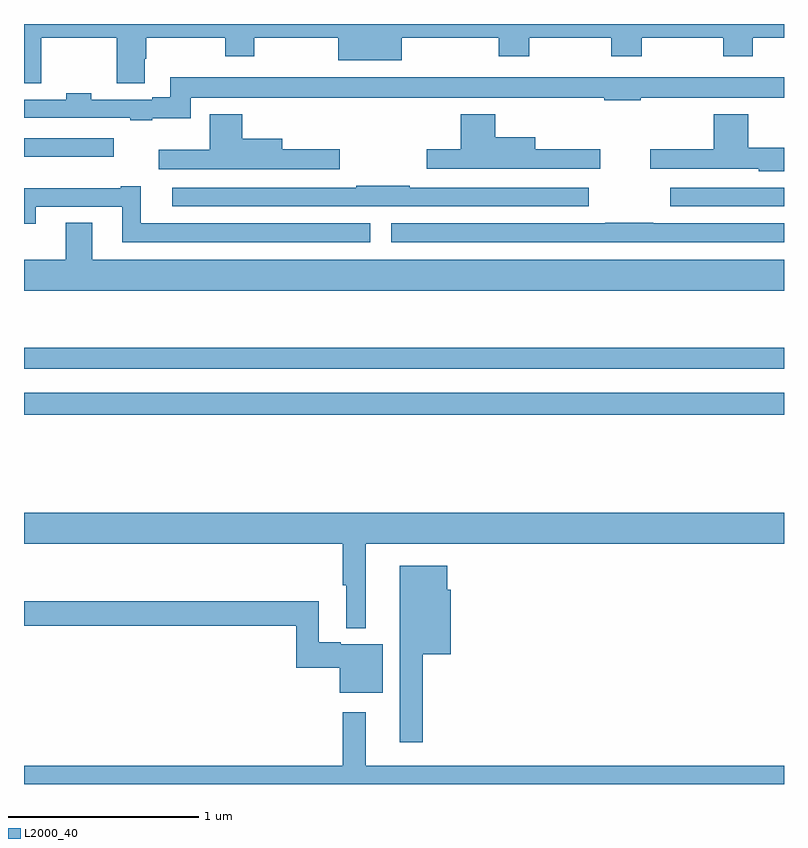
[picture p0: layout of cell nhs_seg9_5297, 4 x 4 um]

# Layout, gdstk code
import gdstk
lib = gdstk.Library(unit=1e-6, precision=1e-09)
def R(c, l, rs):  # rectangles x0, y0, x1, y1
    for r in rs: c.add(gdstk.rectangle(r[:2], r[2:], *l))
def P(c, l, *ps):  # polygons
    for p in ps: c.add(gdstk.Polygon(p, *l))
L2000_40 = (2000, 40)

nhs_seg9_5297 = lib.new_cell('nhs_seg9_5297')
R(nhs_seg9_5297, L2000_40, [(419,1186.444,423,1186.56), (419,1186.686,423,1186.795), (422.4,1187.541,423,1187.637), (419,1187.801,419.473,1187.898)])
P(nhs_seg9_5297, L2000_40, [(419.09,1188.428),(419.488,1188.428),(419.488,1188.187),(419.635,1188.187),(419.635,1188.316),(419.643,1188.316),(419.643,1188.428),(420.058,1188.428),(420.058,1188.329),(420.213,1188.329),(420.213,1188.428),(420.653,1188.428),(420.653,1188.308),(420.988,1188.308),(420.988,1188.428),(421.499,1188.428),(421.499,1188.329),(421.659,1188.329),(421.659,1188.428),(422.092,1188.428),(422.092,1188.329),(422.25,1188.329),(422.25,1188.428),(422.68,1188.428),(422.68,1188.329),(422.835,1188.329),(422.835,1188.428),(423,1188.428),(423,1188.5),(419,1188.5),(419,1188.187),(419.09,1188.187)],
  [(419.674,1188.005),(419.878,1188.005),(419.878,1188.113),(422.055,1188.113),(422.055,1188.098),(422.246,1188.098),(422.246,1188.113),(423,1188.113),(423,1188.22),(419.771,1188.22),(419.771,1188.115),(419.675,1188.115),(419.675,1188.102),(419.355,1188.102),(419.355,1188.135),(419.223,1188.135),(419.223,1188.102),(419,1188.102),(419,1188.006),(419.56,1188.006),(419.56,1187.994),(419.674,1187.994)],
  [(423,1187.848),(422.813,1187.848),(422.813,1188.025),(422.63,1188.025),(422.63,1187.84),(422.295,1187.84),(422.295,1187.739),(422.868,1187.739),(422.868,1187.726),(423,1187.726)],
  [(422.032,1187.842),(421.69,1187.842),(421.69,1187.905),(421.481,1187.905),(421.481,1188.025),(421.298,1188.025),(421.298,1187.842),(421.119,1187.842),(421.119,1187.738),(422.032,1187.738)],
  [(420.661,1187.842),(420.358,1187.842),(420.358,1187.896),(420.149,1187.896),(420.149,1188.025),(419.978,1188.025),(419.978,1187.839),(419.709,1187.839),(419.709,1187.735),(420.661,1187.735)],
  [(421.972,1187.637),(421.031,1187.637),(421.031,1187.65),(420.748,1187.65),(420.748,1187.637),(419.781,1187.637),(419.781,1187.541),(421.972,1187.541)],
  [(420.823,1187.452),(419.614,1187.452),(419.614,1187.647),(419.51,1187.647),(419.51,1187.635),(419,1187.635),(419,1187.448),(419.062,1187.448),(419.062,1187.538),(419.516,1187.538),(419.516,1187.351),(420.823,1187.351)],
  [(423,1187.452),(422.312,1187.452),(422.312,1187.455),(422.059,1187.455),(422.059,1187.452),(420.933,1187.452),(420.933,1187.351),(423,1187.351)],
  [(423,1187.26),(419.359,1187.26),(419.359,1187.453),(419.219,1187.453),(419.219,1187.26),(419,1187.26),(419,1187.096),(423,1187.096)],
  [(420.799,1185.764),(423,1185.764),(423,1185.928),(419,1185.928),(419,1185.764),(420.678,1185.764),(420.678,1185.547),(420.697,1185.547),(420.697,1185.32),(420.799,1185.32)],
  [(421.099,1185.182),(421.246,1185.182),(421.246,1185.522),(421.228,1185.522),(421.228,1185.649),(420.977,1185.649),(420.977,1184.721),(421.099,1184.721)],
  [(420.889,1185.235),(420.666,1185.235),(420.666,1185.245),(420.55,1185.245),(420.55,1185.463),(419,1185.463),(419,1185.334),(420.433,1185.334),(420.433,1185.112),(420.662,1185.112),(420.662,1184.981),(420.889,1184.981)],
  [(423,1184.596),(420.799,1184.596),(420.799,1184.878),(420.678,1184.878),(420.678,1184.596),(419,1184.596),(419,1184.5),(423,1184.5)])

lib.write_gds('nhs_seg9_5297.gds')
